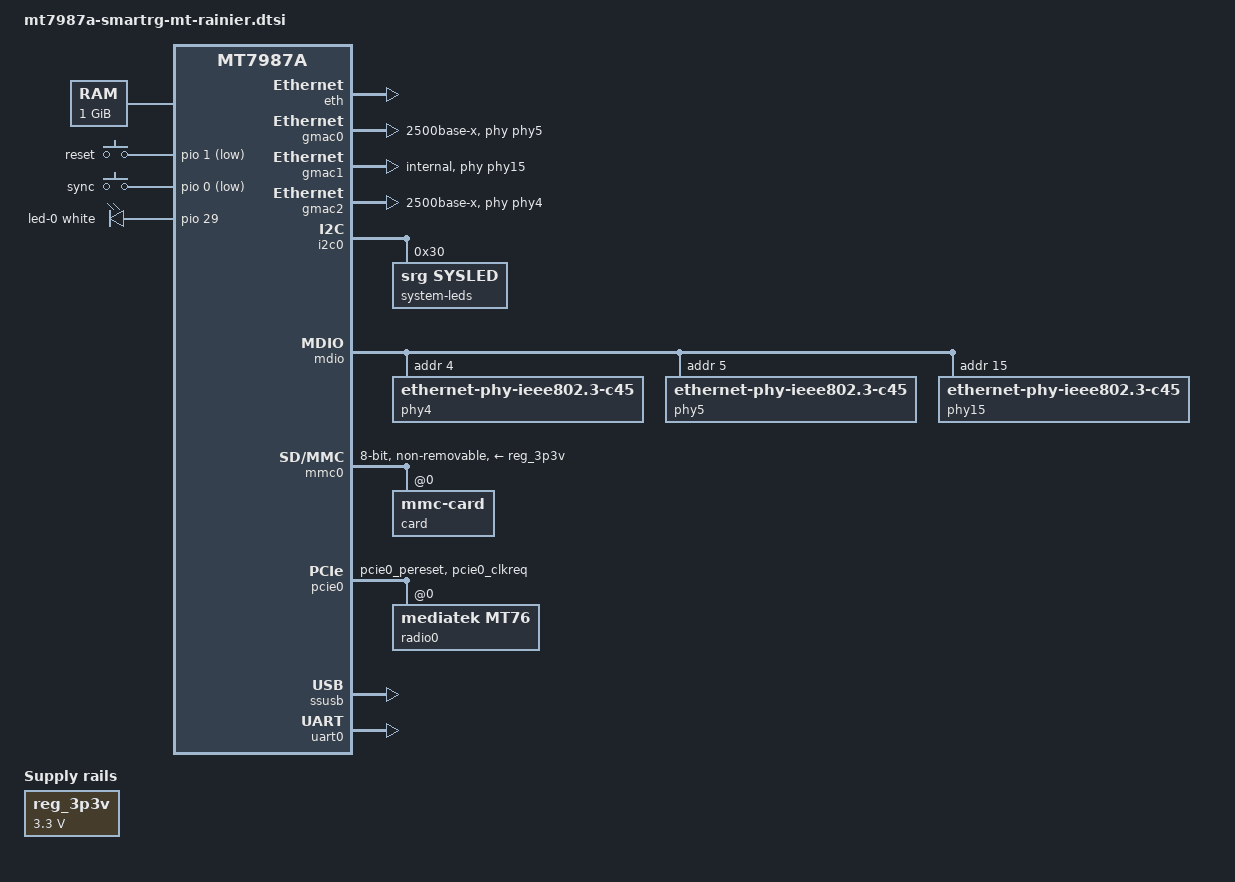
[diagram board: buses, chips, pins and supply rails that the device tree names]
// SPDX-License-Identifier: (GPL-2.0 OR MIT)
/*
 * Copyright (C) 2025 SmartRG Inc.
 * Author: Chad Monroe <chad.monroe@smartrg.com>
 */

/dts-v1/;
#include "mt7987a.dtsi"
#include <dt-bindings/gpio/gpio.h>
#include <dt-bindings/input/input.h>
#include <dt-bindings/leds/common.h>

/ {
	aliases {
		serial0 = &uart0;
		label-mac-device = &gmac2;
		led-boot = &led_sys_green;
		led-failsafe = &led_sys_blue;
		led-running = &led_sys_white;
		led-upgrade = &led_sys_red;
	};

	chosen {
		bootargs = "console=ttyS0,115200n1 root=PARTLABEL=rootfs";
		stdout-path = "serial0:115200n8";
	};

	memory@40000000 {
		reg = <0x0 0x40000000 0x0 0x40000000>;
		device_type = "memory";
	};

	reserved-memory {
		#address-cells = <2>;
		#size-cells = <2>;
		ranges;

		bootdata@45000000 {
			no-map;
			reg = <0x0 0x45000000 0x0 0x00001000>;
		};

		ramoops@45001000 {
			no-map;
			compatible = "ramoops";
			reg = <0x0 0x45001000 0x0 0x00140000>;
			ftrace-size = <0x20000>;
			record-size = <0x20000>;
			console-size = <0x20000>;
			pmsg-size = <0x80000>;
		};
	};

	reg_3p3v: regulator-3p3v {
		compatible = "regulator-fixed";
		regulator-name = "fixed-3.3V";
		regulator-min-microvolt = <3300000>;
		regulator-max-microvolt = <3300000>;
		regulator-boot-on;
		regulator-always-on;
	};

	gpio-keys {
		compatible = "gpio-keys";
		pinctrl-names = "default";
		pinctrl-0 = <&button_pins>;

		button-reset {
			label = "reset";
			linux,code = <KEY_RESTART>;
			gpios = <&pio 1 GPIO_ACTIVE_LOW>;
		};

		button-sync {
			label = "sync";
			linux,code = <KEY_WPS_BUTTON>;
			gpios = <&pio 0 GPIO_ACTIVE_LOW>;
		};
	};

	leds: gpio-leds {
		compatible = "gpio-leds";

		led-0 {
			color = <LED_COLOR_ID_WHITE>;
			function = LED_FUNCTION_LAN;
			function-enumerator = <2>;
			gpios = <&pio 29 GPIO_ACTIVE_HIGH>;
		};
	};
};

&eth {
	status = "okay";
};

&gmac0 {
	nvmem-cells = <&macaddr 0x1>;
	nvmem-cell-names = "mac-address";
	label = "lan1";
	phy-mode = "2500base-x";
	phy-handle = <&phy5>;

	status = "okay";
};

&gmac1 {
	nvmem-cells = <&macaddr 0x1>;
	nvmem-cell-names = "mac-address";
	label = "lan2";
	phy-mode = "internal";
	phy-handle = <&phy15>;

	status = "okay";
};

&gmac2 {
	nvmem-cells = <&macaddr 0x0>;
	nvmem-cell-names = "mac-address";
	label = "wan";
	phy-mode = "2500base-x";
	phy-handle = <&phy4>;

	status = "okay";
};

&i2c0 {
	pinctrl-names = "default";
	pinctrl-0 = <&i2c0_pins>;
	status = "okay";

	system-leds@30 {
		compatible = "srg,sysled";
		reg = <0x30>;
		#address-cells = <1>;
		#size-cells = <0>;

		led_sys_red: led@1 {
			label = "red";
			reg = <1>;
		};

		led_sys_green: led@2 {
			label = "green";
			reg = <2>;
		};

		led_sys_blue: led@3 {
			label = "blue";
			reg = <3>;
		};

		led_sys_white: led@4 {
			label = "white";
			reg = <4>;
		};
	};
};

&mdio {
	phy4: ethernet-phy@4 {
		/* MXL86211C - WAN */
		compatible = "ethernet-phy-ieee802.3-c45";
		reg = <4>;

		leds {
			#address-cells = <1>;
			#size-cells = <0>;

			led@0 {
				reg = <0>;
				color = <LED_COLOR_ID_GREEN>;
				function = LED_FUNCTION_WAN;
				active-high;
			};

			led@1 {
				reg = <1>;
				color = <LED_COLOR_ID_AMBER>;
				function = LED_FUNCTION_WAN;
				active-high;
			};

			led@2 {
				reg = <2>;
				color = <LED_COLOR_ID_WHITE>;
				function = LED_FUNCTION_WAN;
				active-high;
			};
		};
	};

	phy5: ethernet-phy@5 {
		/* MXL86211C - LAN1 */
		compatible = "ethernet-phy-ieee802.3-c45";
		reg = <5>;

		leds {
			#address-cells = <1>;
			#size-cells = <0>;

			led@0 {
				reg = <0>;
				color = <LED_COLOR_ID_GREEN>;
				function = LED_FUNCTION_LAN;
				function-enumerator = <1>;
				active-high;
			};

			led@1 {
				reg = <1>;
				color = <LED_COLOR_ID_AMBER>;
				function = LED_FUNCTION_LAN;
				function-enumerator = <1>;
				active-high;
			};

			led@2 {
				reg = <2>;
				color = <LED_COLOR_ID_WHITE>;
				function = LED_FUNCTION_LAN;
				function-enumerator = <1>;
				active-high;
			};
		};
	};

	phy15: ethernet-phy@f {
		/* MT7987 - LAN2 */
		pinctrl-names = "i2p5gbe-led";
		pinctrl-0 = <&i2p5gbe_led0_pins>, <&i2p5gbe_led1_1_pins>;
		compatible = "ethernet-phy-ieee802.3-c45";
		reg = <15>;

		leds {
			#address-cells = <1>;
			#size-cells = <0>;

			led@0 {
				reg = <0>;
				color = <LED_COLOR_ID_GREEN>;
				function = LED_FUNCTION_LAN;
				function-enumerator = <2>;
			};

			led@1 {
				reg = <1>;
				color = <LED_COLOR_ID_AMBER>;
				function = LED_FUNCTION_LAN;
				function-enumerator = <2>;
			};
		};
	};
};

&mmc0 {
	pinctrl-names = "default", "state_uhs";
	pinctrl-0 = <&mmc_pins_default>;
	pinctrl-1 = <&mmc_pins_uhs>;
	bus-width = <8>;
	max-frequency = <48000000>;
	cap-mmc-highspeed;
	vmmc-supply = <&reg_3p3v>;
	non-removable;
	no-sd;
	no-sdio;
	status = "okay";
	#address-cells = <1>;
	#size-cells = <0>;

	card@0 {
		compatible = "mmc-card";
		reg = <0>;

		emmc_block: block {
			compatible = "block-device";
		};
	};
};

&pcie0 {
	pinctrl-names = "default";
	pinctrl-0 = <&pcie0_1_pins>;
	wifi-reset-gpios = <&pio 38 GPIO_ACTIVE_LOW>;
	wifi-reset-msleep = <100>;
	status = "okay";

	pcie@0,0 {
		#address-cells = <3>;
		#size-cells = <2>;
		reg = <0x0000 0 0 0 0>;

		radio0: wifi@0,0 {
			compatible = "mediatek,mt76";
			reg = <0x0000 0 0 0 0>;
			#address-cells = <1>;
			#size-cells = <0>;
			nvmem-cells = <&eeprom_factory_0>;
			nvmem-cell-names = "eeprom";
			ieee80211-freq-limit = <2400000 2500000>, <5170000 5835000>;

			band@0 {
				/* 2.4 GHz */
				reg = <0>;
				nvmem-cells = <&macaddr 0x4>;
				nvmem-cell-names = "mac-address";
			};

			band@1 {
				/* 5 GHz */
				reg = <1>;
				nvmem-cells = <&macaddr 0xa>;
				nvmem-cell-names = "mac-address";
			};
		};
	};
};

&pio {
	button_pins: button-pins {
		pins = "GPIO_RESET", "GPIO_WPS";
		bias-disable;
	};

	pcie0_1_pins: pcie0-pins-g1 {
		mux {
			function = "pcie";
			groups = "pcie0_pereset", "pcie0_clkreq";
		};
	};
};

&ssusb {
	status = "okay";
};

&uart0 {
	pinctrl-names = "default";
	pinctrl-0 = <&uart0_pins>;
	status = "okay";
};
